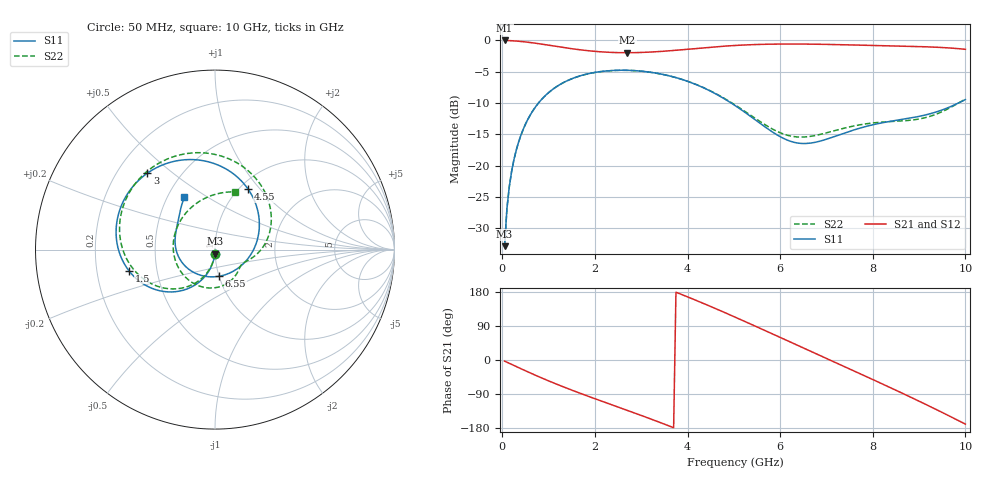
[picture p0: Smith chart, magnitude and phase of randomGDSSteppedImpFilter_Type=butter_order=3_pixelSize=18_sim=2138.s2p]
! freq	dB(S11)	phase(S11)	dB(S12)	phase(S12)
!  dB(S21)	phase(S21)	dB(S22)	phase(S22)
!S-par simulation data
#  GHz  S  DB  R 50
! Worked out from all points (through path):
!   200 points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, 50 MHz to 10 GHz, reference 50 ohm
!   highest |S21| = -0.01 dB at 50 MHz (marker M1); lowest = -2.0 dB at 2.7 GHz (marker M2)
!   group delay of S21, straight-line fit = 145 ps
!   lowest |S11| = -32.8 dB at 50 MHz (marker M3), VSWR 1.05, Z = 49.8 - j2.27 ohm
!   |S11| at or under -10 dB: start of sweep to 781.2 MHz; 4.944 GHz to 9.848 GHz (4.904 GHz wide, 66.3 % of centre)
!   |S22| runs from -32.8 to -4.8 dB; largest |S21 - S12| = 0
!   S11 on the Smith chart (normalised r, x): 50 MHz: 1.00, -0.05; 1.5 GHz: 0.34, -0.11; 3 GHz: 0.33, +0.41; 4.55 GHz: 1.09, +0.87; 6.55 GHz: 1.00, -0.30; 10 GHz: 0.61, +0.40
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0.05  -32.84 -92.7  -0.01 -2.9  -0.01 -2.9  -32.84 -92.9
0.1  -26.87 -95.6  -0.02 -5.8  -0.02 -5.8  -26.88 -96.1
0.2  -20.96 -101.4  -0.05 -11.6  -0.05 -11.6  -20.97 -102.4
0.45  -14.22 -115.1  -0.20 -25.7  -0.20 -25.7  -14.23 -117.3
0.95  -8.66 -140.8  -0.70 -52.5  -0.70 -52.5  -8.66 -145.4
1.5  -6.12 -166.3  -1.33 -79.5  -1.33 -79.5  -6.13 -173.7
1.75  -5.51 -177.1  -1.56 -91.0  -1.56 -91.0  -5.52 174.1
2.7  -4.77 143.8  -1.97 -133.0  -1.97 -133.0  -4.78 129.4
3  -4.90 131.5  -1.93 -146.3  -1.93 -146.3  -4.91 115.2
3.4  -5.33 114.7  -1.77 -164.5  -1.77 -164.5  -5.33 95.8
4  -6.52 88.1  -1.41 166.7  -1.41 166.7  -6.52 65.6
4.55  -8.30 61.4  -1.05 138.6  -1.05 138.6  -8.26 37.2
5.05  -10.51 34.4  -0.80 111.9  -0.80 111.9  -10.41 12.5
5.75  -14.20 -12.0  -0.61 73.5  -0.61 73.5  -13.80 -14.8
6.55  -16.46 -81.3  -0.59 29.2  -0.59 29.2  -15.40 -34.6
6.7  -16.34 -94.1  -0.60 20.8  -0.60 20.8  -15.26 -39.1
7.45  -14.63 -146.4  -0.71 -20.8  -0.71 -20.8  -13.89 -72.9
8.35  -12.95 170.8  -0.86 -71.3  -0.86 -71.3  -12.97 -133.9
8.75  -12.47 156.7  -0.93 -94.1  -0.93 -94.1  -12.78 -167.9
9.1  -11.96 146.2  -1.01 -114.5  -1.01 -114.5  -12.39 158.8
9.6  -10.81 132.6  -1.18 -144.5  -1.18 -144.5  -11.01 108.8
10  -9.44 120.3  -1.42 -169.2  -1.42 -169.2  -9.37 71.1
